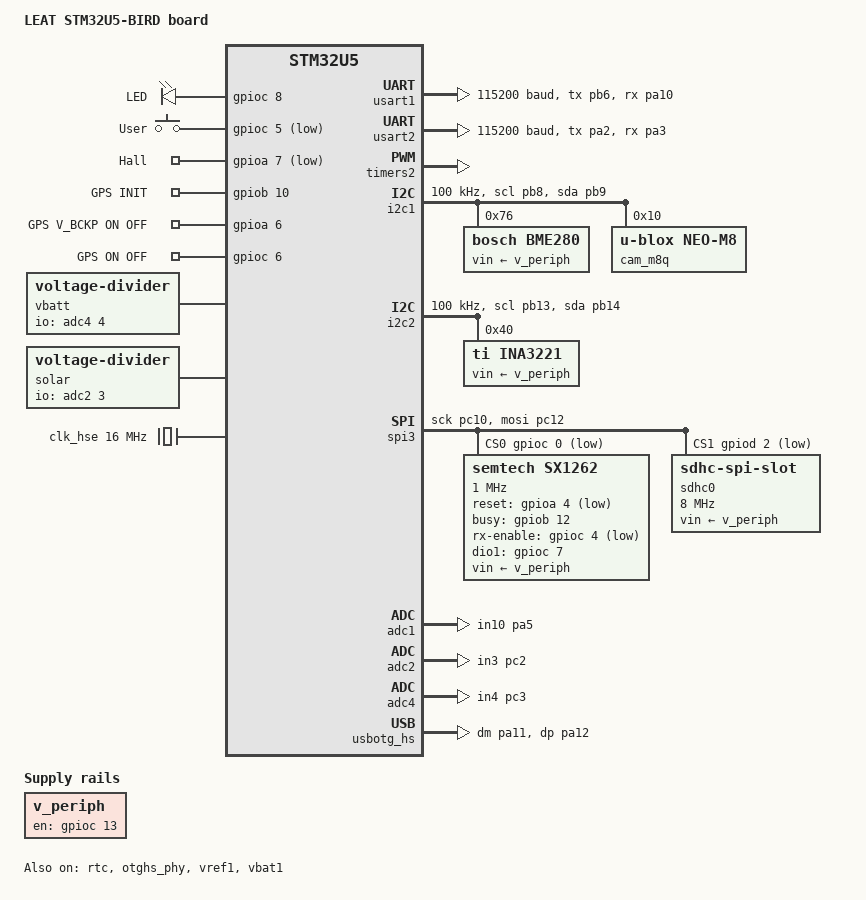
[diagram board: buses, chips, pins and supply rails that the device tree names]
/*
 * Copyright (c) 2017 Linaro Limited
 *
 * SPDX-License-Identifier: Apache-2.0
 */

/dts-v1/;
#include <st/u5/stm32u595.dtsi>
#include <st/u5/stm32u595ritx-pinctrl.dtsi>
#include "arduino_r3_connector.dtsi"
#include <zephyr/dt-bindings/input/input-event-codes.h>
#include <zephyr/dt-bindings/lora/sx126x.h>

/ {
	model = "LEAT STM32U5-BIRD board";
	compatible = "leat,stm32u5-bird";

	chosen {
		zephyr,console = &usart2;
		zephyr,shell-uart = &usart2;
		//zephyr,console = &cdc_acm_uart0;
		//zephyr,shell-uart = &cdc_acm_uart0;
		zephyr,sram = &sram0;
		zephyr,flash = &flash0;
		//zephyr,flash-controller = &mx25r6435;
	};
	
	/* Custom pinctrl for SPI1 MISO with pull-up */
	soc {
		pinctrl: pin-controller@42020000 {
			spi1_miso_pb4_pullup: spi1_miso_pb4_pullup {
				pinmux = <STM32_PINMUX('B', 4, AF5)>;
				bias-pull-up;
			};
			spi3_miso_pc11_pullup: spi3_miso_pc11_pullup {
				pinmux = <STM32_PINMUX('C', 11, AF6)>;
				bias-pull-up;
			};
		};
	};
	

	leds {
		compatible = "gpio-leds";

		led: led {
			gpios = <&gpioc 8 GPIO_ACTIVE_HIGH>;
			label = "LED";
		};
	};

	gpio_keys {
		compatible = "gpio-keys";
		user_button: button {
			label = "User";
			gpios = <&gpioc 5 GPIO_ACTIVE_LOW>;
		};
		hall: hall {
			label = "Hall";
			gpios = <&gpioa 7 GPIO_ACTIVE_LOW>;
		};
		gps_init: gps_init {
			gpios = <&gpiob 10 GPIO_ACTIVE_HIGH>;
			label = "GPS INIT";
		};
		gps_vbckp: gps_vbckp {
			gpios = <&gpioa 6 GPIO_ACTIVE_HIGH>;
			label = "GPS V_BCKP ON OFF";
		};
		gps_on_off: gps_on_off {
			gpios = <&gpioc 6 GPIO_ACTIVE_HIGH>;
			label = "GPS ON OFF";
		};
	};

	vbatt {
		compatible = "voltage-divider";
		io-channels = <&adc4 4>;
		output-ohms = <2000000>;
		full-ohms = <(1000000 + 2000000)>;
	};

	solar {
		compatible = "voltage-divider";
		io-channels = <&adc2 3>;
		output-ohms = <1000000>;
		full-ohms = <(4000000 + 1000000)>;
	};

	v_periph: v-periph-ctrl {
		compatible = "regulator-fixed";
		regulator-name = "v-periph";
		enable-gpios = <&gpioc 13 GPIO_ACTIVE_HIGH>;
		startup-delay-us = <2500>;
		regulator-boot-on;
	};

	aliases {
		led0 = &led;
		sw0 = &user_button;
		hall0 = &hall;
		mcuboot-led0 = &led;
		mcuboot-button0 = &user_button;
		gps-init = &gps_init;
		gps-vbckp = &gps_vbckp;
	};
};


&clk_hsi48 {
	status = "okay";
};

&clk_hsi {
	status = "okay";
};

&clk_hse {
	clock-frequency = <DT_FREQ_M(16)>;
	status = "okay";
};


&clk_lse {
	status = "okay";
};


&pll1 {
	div-m = <4>;
	mul-n = <80>;
	div-p = <2>;
	div-q = <2>;
	div-r = <2>;
	clocks = <&clk_hse>;
	status = "okay";
};

&pll2 {
	div-m = <4>;
	mul-n = <66>;
	div-p = <2>;
	div-q = <2>;
	div-r = <2>;
	clocks = <&clk_hse>;
	status = "okay";
};

&pll3 {
	div-m = <4>;
	mul-n = <125>;
	div-p = <20>;
	div-q = <20>;
	div-r = <20>;
	clocks = <&clk_hse>;
	status = "okay";
};

&rcc {
	clocks = <&pll1>;
	clock-frequency = <DT_FREQ_M(160)>;
	ahb-prescaler = <1>;
	apb1-prescaler = <1>;
	apb2-prescaler = <1>;
	apb3-prescaler = <1>;
};

&usart1 {
	pinctrl-0 = <&usart1_tx_pb6 &usart1_rx_pa10>;
	pinctrl-names = "default";
	current-speed = <115200>;
	status = "okay";
};

&usart2 {
	pinctrl-0 = <&usart2_tx_pa2 &usart2_rx_pa3>;
	pinctrl-names = "default";
	current-speed = <115200>;
	status = "okay";
};


&timers2 {
	status = "okay";
	st,prescaler = <0>;

	pwm2: pwm {
		status = "okay";
		pinctrl-0 = <&tim2_ch1_pa0>;
		pinctrl-names = "default";
	};
};

&i2c1 {
	pinctrl-0 = <&i2c1_scl_pb8 &i2c1_sda_pb9>;
	pinctrl-names = "default";
	scl-gpios = <&gpiob 8 (GPIO_OPEN_DRAIN | GPIO_ACTIVE_HIGH)>;
    sda-gpios = <&gpiob 9 (GPIO_OPEN_DRAIN | GPIO_ACTIVE_HIGH)>;
	status = "okay";
	clock-frequency = <I2C_BITRATE_STANDARD>;

	bme280: bme280@76 {
		compatible = "bosch,bme280";
		status = "okay";
		reg = <0x76>;
		vin-supply = <&v_periph>;
	};

	cam_m8q: gps@10 {
        compatible = "u-blox,neo-m8"; 
        reg = <0x10>;
        status = "okay";
    };
};

&flash0{
	reg = <0x08000000 DT_SIZE_M(2)>;
	partitions {
		compatible = "fixed-partitions";
		#address-cells = <1>;
		#size-cells = <1>;

		/* MCUboot 引导程序占用 64KB */
		boot_partition: partition@0 {
			label = "mcuboot";
			reg = <0x00000000 0x00010000>;
		};
		/* 主程序插槽 Slot 0：928KB */
		slot0_partition: partition@10000 {
			label = "image-0";
			reg = <0x00010000 0x000E8000>;
		};
		/* 备用程序插槽 Slot 1：928KB */
		slot1_partition: partition@f8000 {
			label = "image-1";
			reg = <0x000F8000 0x000E8000>;
		};
		/* 交换区 Scratch：64KB (MCUboot交换固件时需要) */
		scratch_partition: partition@1e0000 {
			label = "image-scratch";
			reg = <0x001E0000 0x00010000>;
		};
		/* 剩余 64KB 用于用户数据存储 (可选) */
		storage_partition: partition@1f0000 {
			label = "storage";
			reg = <0x001F0000 0x00010000>;
		};
	};
};

&i2c2 {
	pinctrl-0 = <&i2c2_scl_pb13 &i2c2_sda_pb14>;
	pinctrl-names = "default";
	clock-frequency = <I2C_BITRATE_STANDARD>;
	scl-gpios = <&gpiob 13 (GPIO_OPEN_DRAIN | GPIO_PULL_UP)>;
	sda-gpios = <&gpiob 14 (GPIO_OPEN_DRAIN | GPIO_PULL_UP)>;
	status = "okay";

	ina3221: ina3221@40 {
		compatible = "ti,ina3221";
		reg = <0x40>;
		shunt-resistors = <150 150 0>;
		enable-channel = <1 1 0>;
		conv-time-bus = <7>;
		conv-time-shunt = <7>;
		avg-mode = <2>;
		vin-supply = <&v_periph>;
		status = "okay";
	};
};

&spi3 {
	pinctrl-0 = <&spi3_sck_pc10 &spi3_miso_pc11_pullup &spi3_mosi_pc12>;
	cs-gpios = <&gpioc 0 (GPIO_ACTIVE_LOW | GPIO_PULL_UP)>,
	           <&gpiod 2 (GPIO_ACTIVE_LOW | GPIO_PULL_UP)>;
	pinctrl-names = "default";
	status = "okay";

	lora: sx1262@0 {
		compatible = "semtech,sx1262";
		reg = <0>;
		label = "sx1262";
		reset-gpios = <&gpioa 4 GPIO_ACTIVE_LOW>;
		busy-gpios = <&gpiob 12 GPIO_ACTIVE_HIGH>;
		rx-enable-gpios = <&gpioc 4 GPIO_ACTIVE_LOW>;
		dio1-gpios = <&gpioc 7 GPIO_ACTIVE_HIGH>;
		dio2-tx-enable;
		dio3-tcxo-voltage = <SX126X_DIO3_TCXO_3V3>;
		tcxo-power-startup-delay-ms = <5>;
		spi-max-frequency = <1000000>;
		vin-supply = <&v_periph>;
	};

	sdhc0: sdhc@1 {
		compatible = "zephyr,sdhc-spi-slot";
		reg = <1>;
		status = "okay";
		/* Conservative SPI frequency to ensure reliable initialization */
		spi-max-frequency = <8000000>;
		/* Power delay for SD card initialization */
		power-delay-ms = <1500>;
		vin-supply = <&v_periph>;
		mmc {
			compatible = "zephyr,sdmmc-disk";
			disk-name = "SD";
			status = "okay";
		};
	};
};


&rtc {
	clocks = <&rcc STM32_CLOCK(APB3, 21)>,
		 <&rcc STM32_SRC_LSE RTC_SEL(1)>;
	status = "okay";
};

&sdmmc1 {
	pinctrl-0 = <&sdmmc1_d0_pc8 &sdmmc1_d1_pc9
		     &sdmmc1_d2_pc10 &sdmmc1_d3_pc11
		     &sdmmc1_ck_pc12 &sdmmc1_cmd_pd2>;
	pinctrl-names = "default";
	disk-name = "SD";
	status = "disabled";
};

&adc1 {
	pinctrl-0 = <&adc1_in10_pa5>;
	pinctrl-names = "default";
	st,adc-clock-source = "ASYNC";
	st,adc-prescaler = <4>;
	status = "okay";
};

&adc2 {
	pinctrl-0 = <&adc2_in3_pc2>;
	pinctrl-names = "default";
	st,adc-clock-source = "ASYNC";
	st,adc-prescaler = <4>;
	status = "okay";
};

&adc4 {
	pinctrl-0 = <&adc4_in4_pc3>;
	pinctrl-names = "default";
	st,adc-clock-source = "ASYNC";
	st,adc-prescaler = <4>;
	st,adc-resolutions = <12 10 8 6>;
	sampling-times = <3 7 13 25 48 93 248 641>;
	st,adc-sequencer = "programmable";
	status = "okay";
};

&gpdma1 {
	status = "okay";
};

zephyr_udc0: &usbotg_hs {
	pinctrl-0 = <&usb_otg_hs_dm_pa11 &usb_otg_hs_dp_pa12>;
	pinctrl-names = "default";
	status = "okay";
};

&otghs_phy {
	clock-reference = "SYSCFG_OTG_HS_PHY_CLK_16MHz";
	status = "okay";
};

&zephyr_udc0 {
	cdc_acm_uart0: cdc_acm_uart0 {
		compatible = "zephyr,cdc-acm-uart";
	};
};

&vref1 {
	status = "okay";
};

&vbat1 {
	status = "okay";
};
